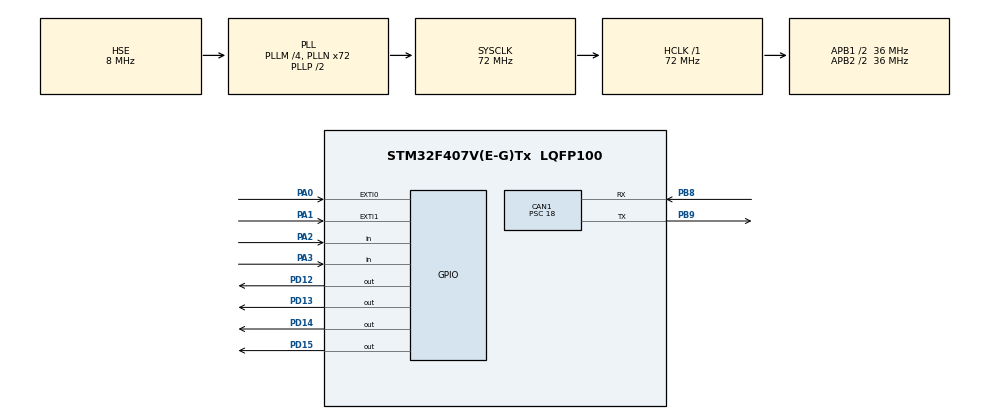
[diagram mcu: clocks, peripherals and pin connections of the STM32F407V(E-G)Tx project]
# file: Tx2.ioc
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CAN1.BS1=CAN_BS1_2TQ
CAN1.CalculateBaudRate=500000
CAN1.CalculateTimeBit=2000
CAN1.CalculateTimeQuantum=500.0
CAN1.Prescaler=18
Mcu.Family=STM32F4
Mcu.Name=STM32F407V(E-G)Tx
Mcu.Package=LQFP100
NVIC.CAN1_RX0_IRQn=true\:0\:0\:false\:false\:true\:true\:true\:true
NVIC.EXTI0_IRQn=true\:0\:0\:false\:false\:true\:true\:true\:true
NVIC.PriorityGroup=NVIC_PRIORITYGROUP_0
PA0-WKUP.Signal=GPXTI0
PA1.Signal=GPXTI1
PA2.Signal=GPIO_Input
PA3.Signal=GPIO_Input
PB8.Mode=CAN_Activate
PB8.Signal=CAN1_RX
PB9.Mode=CAN_Activate
PB9.Signal=CAN1_TX
PD12.Signal=GPIO_Output
PD13.Signal=GPIO_Output
PD14.Signal=GPIO_Output
PD15.Signal=GPIO_Output
PH0-OSC_IN.Mode=HSE-External-Oscillator
PH0-OSC_IN.Signal=RCC_OSC_IN
PH1-OSC_OUT.Mode=HSE-External-Oscillator
PH1-OSC_OUT.Signal=RCC_OSC_OUT
ProjectManager.HeapSize=0x200
ProjectManager.StackSize=0x400
ProjectManager.TargetToolchain=STM32CubeIDE
RCC.48MHZClocksFreq_Value=20571428.57142857
RCC.AHBFreq_Value=72000000
RCC.APB1CLKDivider=RCC_HCLK_DIV2
RCC.APB1Freq_Value=36000000
RCC.APB1TimFreq_Value=72000000
RCC.APB2CLKDivider=RCC_HCLK_DIV2
RCC.APB2Freq_Value=36000000
RCC.APB2TimFreq_Value=72000000
RCC.CortexFreq_Value=72000000
RCC.HCLKFreq_Value=72000000
RCC.HSE_VALUE=8000000
RCC.HSI_VALUE=16000000
RCC.LSE_VALUE=32768
RCC.PLLM=4
RCC.PLLN=72
RCC.PLLQ=7
RCC.PLLSourceVirtual=RCC_PLLSOURCE_HSE
RCC.SYSCLKFreq_VALUE=72000000
RCC.SYSCLKSource=RCC_SYSCLKSOURCE_PLLCLK
RCC.VCOOutputFreq_Value=144000000
board=STM32F407G-DISC1

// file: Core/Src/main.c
/* USER CODE BEGIN Header */
/**
  ******************************************************************************
  * @file           : main.c
  * @brief          : Main program body
  ******************************************************************************
  * @attention
  *
  * Copyright (c) 2023 STMicroelectronics.
  * All rights reserved.
  *
  * This software is licensed under terms that can be found in the LICENSE file
  * in the root directory of this software component.
  * If no LICENSE file comes with this software, it is provided AS-IS.
  *
  ******************************************************************************
  */
/* USER CODE END Header */
#include "main.h"

/* USER CODE BEGIN Includes */
#include <stdio.h>
/* USER CODE END Includes */

CAN_HandleTypeDef hcan1;

void SystemClock_Config(void);
static void MX_GPIO_Init(void);
static void MX_CAN1_Init(void);

/* USER CODE BEGIN 0 */
int Switch_Flag = 0;
CAN_TxHeaderTypeDef TxHeader;
uint8_t TxData[5];
uint32_t TxMailBox;

void HAL_GPIO_EXTI_Callback(uint16_t GPIO_Pin){
	if(GPIO_Pin== GPIO_PIN_1 || GPIO_Pin== GPIO_PIN_0)
	{
		Switch_Flag = 1;
		HAL_GPIO_WritePin(GPIOD, GPIO_PIN_14, GPIO_PIN_SET);
		TxData[0] = 'S';	//yellow
		if (HAL_CAN_AddTxMessage(&hcan1, &TxHeader, TxData, &TxMailBox) != HAL_OK)
			Error_Handler();
		HAL_GPIO_WritePin(GPIOD, GPIO_PIN_12, GPIO_PIN_SET);
	}
//	HAL_Delay(1000);
//	HAL_GPIO_WritePin(GPIOD, GPIO_PIN_14, GPIO_PIN_RESET);
//	Switch_Flag = 0;
}

/* USER CODE END 0 */

int main(void)
{

  /* MCU Configuration--------------------------------------------------------*/

  /* Reset of all peripherals, Initializes the Flash interface and the Systick. */
  HAL_Init();

  /* Configure the system clock */
  SystemClock_Config();

  /* Initialize all configured peripherals */
  MX_GPIO_Init();
  MX_CAN1_Init();
  /* USER CODE BEGIN 2 */
  HAL_CAN_Start(&hcan1);
  HAL_CAN_ActivateNotification(&hcan1, CAN_IT_RX_FIFO0_MSG_PENDING);
  HAL_Delay(100);
  HAL_Delay(100);

  TxHeader.DLC=3;
  TxHeader.RTR=CAN_RTR_DATA;
  TxHeader.IDE=CAN_ID_STD;
  TxHeader.ExtId=0x0;
  TxHeader.StdId=0x0AA;
  TxHeader.TransmitGlobalTime=DISABLE;
  /* USER CODE END 2 */

  /* Infinite loop */
  /* USER CODE BEGIN WHILE */
  while (1)
  {
//	  	  	  if(Switch_Flag == 1){
//	  	  		TxData[0] = 'S';	//yellow
//	  	  		if (HAL_CAN_AddTxMessage(&hcan1, &TxHeader, TxData, &TxMailBox) != HAL_OK)
//	  	  			Error_Handler();
//	  	  		HAL_GPIO_WritePin(GPIOD, GPIO_PIN_12, GPIO_PIN_SET);
//	  	  		}

    /* USER CODE END WHILE */

    /* USER CODE BEGIN 3 */
//	  	  	if(HAL_GPIO_ReadPin(GPIOA, GPIO_PIN_1)==0)
//			  {
//				  HAL_GPIO_WritePin(GPIOD, GPIO_PIN_12, GPIO_PIN_SET);
//				  //HAL_Delay(2000);
//				  HAL_GPIO_WritePin(GPIOD, GPIO_PIN_13, GPIO_PIN_RESET);
//				  HAL_GPIO_WritePin(GPIOD, GPIO_PIN_14, GPIO_PIN_RESET);
//				  TxData[0] = '1';	//yellow
//					if (HAL_CAN_AddTxMessage(&hcan1, &TxHeader, TxData, &TxMailBox) != HAL_OK)
//					{
//						Error_Handler();
//					}

					//HAL_GPIO_WritePin(GPIOD, GPIO_PIN_12, GPIO_PIN_SET);

//			  }

	  	  	if(HAL_GPIO_ReadPin(GPIOA, GPIO_PIN_2)==0)
			  {
				  HAL_GPIO_WritePin(GPIOD, GPIO_PIN_13, GPIO_PIN_SET);
				 // HAL_Delay(2000);
				  HAL_GPIO_WritePin(GPIOD, GPIO_PIN_12, GPIO_PIN_RESET);
				  HAL_GPIO_WritePin(GPIOD, GPIO_PIN_14, GPIO_PIN_RESET);

			  }

	  	  	if(HAL_GPIO_ReadPin(GPIOA, GPIO_PIN_3)==0)
			  {
				  HAL_GPIO_WritePin(GPIOD, GPIO_PIN_14, GPIO_PIN_SET);
		//		  HAL_Delay(2000);
				  HAL_GPIO_WritePin(GPIOD, GPIO_PIN_12, GPIO_PIN_RESET);
				  HAL_GPIO_WritePin(GPIOD, GPIO_PIN_13, GPIO_PIN_RESET);
			  }
  }
  /* USER CODE END 3 */
}

void SystemClock_Config(void)
{
  RCC_OscInitTypeDef RCC_OscInitStruct = {0};
  RCC_ClkInitTypeDef RCC_ClkInitStruct = {0};

  /** Configure the main internal regulator output voltage
  */
  __HAL_RCC_PWR_CLK_ENABLE();
  __HAL_PWR_VOLTAGESCALING_CONFIG(PWR_REGULATOR_VOLTAGE_SCALE1);

  /** Initializes the RCC Oscillators according to the specified parameters
  * in the RCC_OscInitTypeDef structure.
  */
  RCC_OscInitStruct.OscillatorType = RCC_OSCILLATORTYPE_HSE;
  RCC_OscInitStruct.HSEState = RCC_HSE_ON;
  RCC_OscInitStruct.PLL.PLLState = RCC_PLL_ON;
  RCC_OscInitStruct.PLL.PLLSource = RCC_PLLSOURCE_HSE;
  RCC_OscInitStruct.PLL.PLLM = 4;
  RCC_OscInitStruct.PLL.PLLN = 72;
  RCC_OscInitStruct.PLL.PLLP = RCC_PLLP_DIV2;
  RCC_OscInitStruct.PLL.PLLQ = 7;
  if (HAL_RCC_OscConfig(&RCC_OscInitStruct) != HAL_OK)
  {
    Error_Handler();
  }

  /** Initializes the CPU, AHB and APB buses clocks
  */
  RCC_ClkInitStruct.ClockType = RCC_CLOCKTYPE_HCLK|RCC_CLOCKTYPE_SYSCLK
                              |RCC_CLOCKTYPE_PCLK1|RCC_CLOCKTYPE_PCLK2;
  RCC_ClkInitStruct.SYSCLKSource = RCC_SYSCLKSOURCE_PLLCLK;
  RCC_ClkInitStruct.AHBCLKDivider = RCC_SYSCLK_DIV1;
  RCC_ClkInitStruct.APB1CLKDivider = RCC_HCLK_DIV2;
  RCC_ClkInitStruct.APB2CLKDivider = RCC_HCLK_DIV2;

  if (HAL_RCC_ClockConfig(&RCC_ClkInitStruct, FLASH_LATENCY_2) != HAL_OK)
  {
    Error_Handler();
  }
}

static void MX_CAN1_Init(void)
{

  hcan1.Instance = CAN1;
  hcan1.Init.Prescaler = 18;
  hcan1.Init.Mode = CAN_MODE_NORMAL;
  hcan1.Init.SyncJumpWidth = CAN_SJW_1TQ;
  hcan1.Init.TimeSeg1 = CAN_BS1_2TQ;
  hcan1.Init.TimeSeg2 = CAN_BS2_1TQ;
  hcan1.Init.TimeTriggeredMode = DISABLE;
  hcan1.Init.AutoBusOff = DISABLE;
  hcan1.Init.AutoWakeUp = DISABLE;
  hcan1.Init.AutoRetransmission = DISABLE;
  hcan1.Init.ReceiveFifoLocked = DISABLE;
  hcan1.Init.TransmitFifoPriority = DISABLE;
  if (HAL_CAN_Init(&hcan1) != HAL_OK)
  {
    Error_Handler();
  }
  /* USER CODE BEGIN CAN1_Init 2 */
  CAN_FilterTypeDef canFilterConfig;
   canFilterConfig.FilterActivation=CAN_FILTER_ENABLE;
   canFilterConfig.SlaveStartFilterBank=14;
   canFilterConfig.FilterBank=2;
   canFilterConfig.FilterFIFOAssignment=CAN_RX_FIFO0;
   canFilterConfig.FilterScale=CAN_FILTERSCALE_32BIT;
   canFilterConfig.FilterMode=CAN_FILTERMODE_IDMASK;
   canFilterConfig.FilterMaskIdLow=0x0000;
   canFilterConfig.FilterMaskIdHigh=0xFF00;
   canFilterConfig.FilterIdLow=0x0000;
   canFilterConfig.FilterIdHigh=0x1500;
   HAL_CAN_ConfigFilter(&hcan1, &canFilterConfig);
  /* USER CODE END CAN1_Init 2 */

}

static void MX_GPIO_Init(void)
{
  GPIO_InitTypeDef GPIO_InitStruct = {0};

  /* GPIO Ports Clock Enable */
  __HAL_RCC_GPIOH_CLK_ENABLE();
  __HAL_RCC_GPIOA_CLK_ENABLE();
  __HAL_RCC_GPIOD_CLK_ENABLE();
  __HAL_RCC_GPIOB_CLK_ENABLE();

  /*Configure GPIO pin Output Level */
  HAL_GPIO_WritePin(GPIOD, GPIO_PIN_12|GPIO_PIN_13|GPIO_PIN_14|GPIO_PIN_15, GPIO_PIN_RESET);

  /*Configure GPIO pins : PA0 PA1 */
  GPIO_InitStruct.Pin = GPIO_PIN_0|GPIO_PIN_1;
  GPIO_InitStruct.Mode = GPIO_MODE_IT_RISING;
  GPIO_InitStruct.Pull = GPIO_NOPULL;
  HAL_GPIO_Init(GPIOA, &GPIO_InitStruct);

  /*Configure GPIO pins : PA2 PA3 */
  GPIO_InitStruct.Pin = GPIO_PIN_2|GPIO_PIN_3;
  GPIO_InitStruct.Mode = GPIO_MODE_INPUT;
  GPIO_InitStruct.Pull = GPIO_NOPULL;
  HAL_GPIO_Init(GPIOA, &GPIO_InitStruct);

  /*Configure GPIO pins : PD12 PD13 PD14 PD15 */
  GPIO_InitStruct.Pin = GPIO_PIN_12|GPIO_PIN_13|GPIO_PIN_14|GPIO_PIN_15;
  GPIO_InitStruct.Mode = GPIO_MODE_OUTPUT_PP;
  GPIO_InitStruct.Pull = GPIO_NOPULL;
  GPIO_InitStruct.Speed = GPIO_SPEED_FREQ_LOW;
  HAL_GPIO_Init(GPIOD, &GPIO_InitStruct);

  /* EXTI interrupt init*/
  HAL_NVIC_SetPriority(EXTI0_IRQn, 0, 0);
  HAL_NVIC_EnableIRQ(EXTI0_IRQn);

}

/* USER CODE BEGIN 4 */
void HAL_CAN_TxMailbox0CompleteCallback(CAN_HandleTypeDef *hcan)
{
	HAL_GPIO_WritePin(GPIOD, GPIO_PIN_15, GPIO_PIN_SET);
}

/* USER CODE END 4 */

void Error_Handler(void)
{
  __disable_irq();
  while (1)
  {
  }
}
